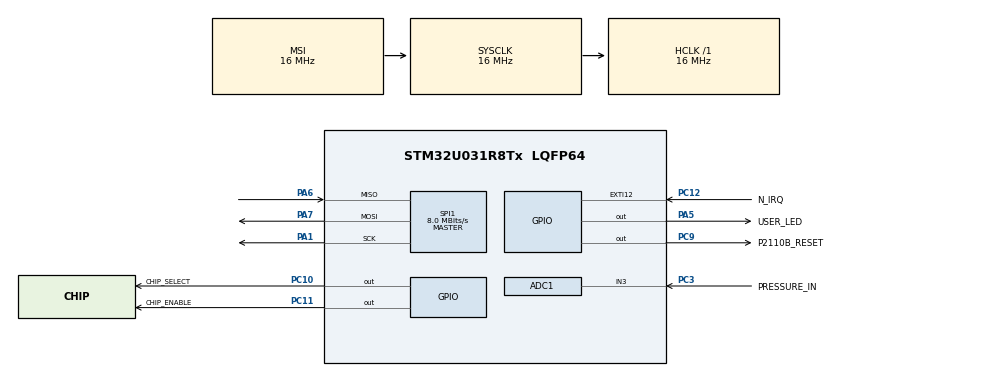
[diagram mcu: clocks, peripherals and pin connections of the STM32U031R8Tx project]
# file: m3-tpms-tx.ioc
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ADC1.Channel-1\#ChannelRegularConversion=ADC_CHANNEL_3
ADC1.ContinuousConvMode=ENABLE
ADC1.NbrOfConversionFlag=1
ADC1.Rank-1\#ChannelRegularConversion=1
ADC1.RankArg-1\#ChannelRegularConversion=ADC_REGULAR_RANK_1
ADC1.SamplingTime-1\#ChannelRegularConversion=ADC_SAMPLINGTIME_COMMON_1
ADC1.SelectedChannel=ADC_CHANNEL_3
ADC1.master=1
Mcu.Family=STM32U0
Mcu.Name=STM32U031R8Tx
Mcu.Package=LQFP64
NVIC.EXTI4_15_IRQn=true\:0\:0\:false\:false\:true\:true\:true\:true
NVIC.PriorityGroup=NVIC_PRIORITYGROUP_2
PA1.Mode=Full_Duplex_Master
PA1.Signal=SPI1_SCK
PA13\ (SWDIO).GPIO_Label=SWDIO
PA13\ (SWDIO).Mode=Serial_Wire
PA13\ (SWDIO).Signal=DEBUG_JTMS-SWDIO
PA14\ (SWCLK).GPIO_Label=SWCLK
PA14\ (SWCLK).Mode=Serial_Wire
PA14\ (SWCLK).Signal=DEBUG_JTCK-SWCLK
PA5.GPIO_Label=USER_LED
PA5.Signal=GPIO_Output
PA6.Mode=Full_Duplex_Master
PA6.Signal=SPI1_MISO
PA7.Mode=Full_Duplex_Master
PA7.Signal=SPI1_MOSI
PC10.GPIO_Label=CHIP_SELECT
PC10.Signal=GPIO_Output
PC11.GPIO_Label=CHIP_ENABLE
PC11.Signal=GPIO_Output
PC12.GPIO_Label=N_IRQ
PC12.GPIO_ModeDefaultEXTI=GPIO_MODE_IT_FALLING
PC12.GPIO_PuPd=GPIO_NOPULL
PC12.Signal=GPXTI12
PC14-OSC32_IN.Signal=RCC_OSC32_IN
PC15-OSC32_OUT.GPIO_Label=OSC32_OUT
PC15-OSC32_OUT.Signal=RCC_OSC32_OUT
PC3.GPIO_Label=PRESSURE_IN
PC3.Mode=IN3
PC3.Signal=ADC1_IN3
PC9.GPIO_Label=P2110B_RESET
PC9.GPIO_PuPd=GPIO_NOPULL
PC9.Signal=GPIO_Output
PF0-OSC_IN.GPIO_Label=OSC_IN
PF0-OSC_IN.Signal=RCC_OSC_IN
PF1-OSC_OUT.GPIO_Label=OSC_OUT
PF1-OSC_OUT.Signal=RCC_OSC_OUT
ProjectManager.HeapSize=0x200
ProjectManager.StackSize=0x400
ProjectManager.TargetToolchain=CMake
RCC.ADCFreq_Value=16000000
RCC.AHBFreq_Value=16000000
RCC.CortexFreq_Value=16000000
RCC.HCLKFreq_Value=16000000
RCC.HSE_VALUE=4000000
RCC.HSI48_VALUE=48000000
RCC.HSI_VALUE=16000000
RCC.LSE_VALUE=32768
RCC.MSIClockRangeVal=RCC_MSIRANGE_8
RCC.MSI_VALUE=16000000
RCC.SYSCLKFreq_VALUE=16000000
RCC.SYSCLKSource=RCC_SYSCLKSOURCE_MSI
RCC.VCOOutputFreq_Value=64000000
SPI1.BaudRatePrescaler=SPI_BAUDRATEPRESCALER_2
SPI1.CalculateBaudRate=8.0 MBits/s
SPI1.DataSize=SPI_DATASIZE_8BIT
SPI1.Direction=SPI_DIRECTION_2LINES
SPI1.Mode=SPI_MODE_MASTER
SPI1.VirtualType=VM_MASTER
VP_PWR_VS_SECSignals.Mode=Security/Privilege
board=NUCLEO-U031R8

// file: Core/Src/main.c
/* USER CODE BEGIN Header */
/**
 ******************************************************************************
 * @file           : main.c
 * @brief          : Main program body
 ******************************************************************************
 * @attention
 *
 * Copyright (c) 2024 STMicroelectronics.
 * All rights reserved.
 *
 * This software is licensed under terms that can be found in the LICENSE file
 * in the root directory of this software component.
 * If no LICENSE file comes with this software, it is provided AS-IS.
 *
 ******************************************************************************
 */
/* USER CODE END Header */
#include "main.h"
#include "adc.h"
#include "spi.h"
#include "gpio.h"

/* USER CODE BEGIN Includes */

#include "nrf24l01.h"
#include "stm32u0xx_hal_gpio.h"

/* USER CODE END Includes */

/* USER CODE BEGIN PD */

#define SINGLE_TRANSMISSION 1
#define TX_DELAY_MS         200
#define NUM_MSGS            1

/* USER CODE END PD */

/* USER CODE BEGIN PV */

static uint8_t uart_msg[128] = {0};

/* USER CODE END PV */

void SystemClock_Config(void);
/* USER CODE BEGIN PFP */
void read_back_config(void);

/* USER CODE END PFP */

int main(void)
{

  /* USER CODE BEGIN 1 */

  // TODO: use interrupts to avoid polling

  // TODO: make these static
  uint8_t tx_payload[MAX_DATA_BYTES] = {0};
  uint8_t rx_buffer[MAX_DATA_BYTES] = {0};

  uint8_t rf_payload[PAYLOAD_SZ_BYTES] = {0};

  HAL_StatusTypeDef send_status = HAL_ERROR;

  /* USER CODE END 1 */

  /* MCU Configuration--------------------------------------------------------*/

  /* Reset of all peripherals, Initializes the Flash interface and the Systick. */
  HAL_Init();

  /* Configure the system clock */
  SystemClock_Config();

  /* Initialize all configured peripherals */
  MX_GPIO_Init();
  MX_SPI1_Init();
  MX_ADC1_Init();
  /* USER CODE BEGIN 2 */

  HAL_PWREx_EnableLowPowerRunMode();
  HAL_ADC_Start(&hadc1);

  HAL_GPIO_WritePin(P2110B_RESET_GPIO_Port, P2110B_RESET_Pin, GPIO_PIN_RESET);

  // TODO: figure out how many SPI commands can be cut out

  // sprintf((char *)uart_msg, "Starting initialization...\r\n");
  // HAL_UART_Transmit(&huart2, uart_msg, sizeof(uart_msg), UART_TIMEOUT_MS);

  // transmit a test command to bring CLK low (not sure why the clock is high to
  // begin with)
  tx_spi_cmd(R_REGISTER(CONFIG_REGISTER), NULL, 0);

  // HAL_Delay(100);

  // [REQUIRED] make sure to power on the device
  tx_payload[0] = 0b00001110;
  tx_spi_cmd(W_REGISTER(CONFIG_REGISTER), tx_payload, 1);

  // [REQUIRED] set payload size for pipe 0
  tx_payload[0] = PAYLOAD_SZ_BYTES;
  tx_spi_cmd(W_REGISTER(RX_PW_P0), tx_payload, 1);

  // [REQUIRED] set the RF configuration
  NrfRfSetup_t rf_config = {.data_power = ZERO_DBM, .data_rate = TWO_MBPS};
  nrf24l01_setup_rf(&rf_config);

  // [NOT REQUIRED] disable auto-retransmission
  tx_payload[0] = 0x0;
  tx_spi_cmd(W_REGISTER(SETUP_RETR), tx_payload, 1);

  // [REQUIRED] enable `W_TX_PAYLOAD_NOACK` command
  tx_payload[0] = 0x1;
  tx_spi_cmd(W_REGISTER(FEATURE), tx_payload, 1);

  // [NOT REQUIRED] flush the TX buffer
  tx_spi_cmd(FLUSH_TX, NULL, 0);

  // [OPTIONAL] read back configuration
  uint32_t start = HAL_GetTick();
  read_back_config();
  uint32_t end = HAL_GetTick();

  // int index = 0;

  // load pressure value into the RF payload
  // TODO: remove this
  uint32_t pressure_val = HAL_ADC_GetValue(&hadc1);

  uint16_t pressure_val_lo = pressure_val & 0xffff;
  *((uint16_t *)rf_payload) = pressure_val_lo;

  send_status = nrf24l01_send_msg_noack(rf_payload, PAYLOAD_SZ_BYTES);

  HAL_GPIO_WritePin(P2110B_RESET_GPIO_Port, P2110B_RESET_Pin, GPIO_PIN_SET);

  while (1);

  /* USER CODE END 2 */

  /* Infinite loop */
  while (1) {

    /* USER CODE BEGIN 3 */

    // index++;

    // #if SINGLE_TRANSMISSION
    //     break;
    // #endif /* if SINGLE_TRANSMISSION */

    if (send_status == HAL_OK) {
      // sprintf((char *)uart_msg, "Transmitted pressure value of %d!\r\n",
      //         pressure_val);
      // HAL_UART_Transmit(&huart2, uart_msg, sizeof(uart_msg),
      // UART_TIMEOUT_MS);
    } else {
      // sprintf((char *)uart_msg, "Failed to transmit pressure value!\r\n");
      // HAL_UART_Transmit(&huart2, uart_msg, sizeof(uart_msg),
      // UART_TIMEOUT_MS);
    }

    memset(&uart_msg, 0, sizeof(uart_msg));

    // check TX FIFO status
    tx_rx_spi_cmd(R_REGISTER(OBSERVE_TX), NULL, 0, rx_buffer, 1);
    uint8_t observe_tx = rx_buffer[0];
    memset(&rx_buffer, 0, sizeof(rx_buffer));

    // sprintf((char *)uart_msg, "Observed TX value is %d!\r\n", observe_tx);
    // HAL_UART_Transmit(&huart2, uart_msg, sizeof(uart_msg), UART_TIMEOUT_MS);

    HAL_GPIO_TogglePin(USER_LED_GPIO_Port, USER_LED_Pin);
    HAL_Delay(TX_DELAY_MS);
  }
  /* USER CODE END 3 */
}

void SystemClock_Config(void)
{
  RCC_OscInitTypeDef RCC_OscInitStruct = {0};
  RCC_ClkInitTypeDef RCC_ClkInitStruct = {0};

  /** Configure the main internal regulator output voltage
  */
  HAL_PWREx_ControlVoltageScaling(PWR_REGULATOR_VOLTAGE_SCALE2);

  /** Initializes the RCC Oscillators according to the specified parameters
  * in the RCC_OscInitTypeDef structure.
  */
  RCC_OscInitStruct.OscillatorType = RCC_OSCILLATORTYPE_MSI;
  RCC_OscInitStruct.MSIState = RCC_MSI_ON;
  RCC_OscInitStruct.MSICalibrationValue = RCC_MSICALIBRATION_DEFAULT;
  RCC_OscInitStruct.MSIClockRange = RCC_MSIRANGE_8;
  RCC_OscInitStruct.PLL.PLLState = RCC_PLL_NONE;
  if (HAL_RCC_OscConfig(&RCC_OscInitStruct) != HAL_OK)
  {
    Error_Handler();
  }

  /** Initializes the CPU, AHB and APB buses clocks
  */
  RCC_ClkInitStruct.ClockType = RCC_CLOCKTYPE_HCLK|RCC_CLOCKTYPE_SYSCLK
                              |RCC_CLOCKTYPE_PCLK1;
  RCC_ClkInitStruct.SYSCLKSource = RCC_SYSCLKSOURCE_MSI;
  RCC_ClkInitStruct.AHBCLKDivider = RCC_SYSCLK_DIV1;
  RCC_ClkInitStruct.APB1CLKDivider = RCC_HCLK_DIV1;

  if (HAL_RCC_ClockConfig(&RCC_ClkInitStruct, FLASH_LATENCY_1) != HAL_OK)
  {
    Error_Handler();
  }
}

/* USER CODE BEGIN 4 */

void read_back_config(void) {
  uint8_t rx_buffer[RX_BUF_SZ_BYTES] = {0};

  tx_rx_spi_cmd(R_REGISTER(CONFIG_REGISTER), NULL, 0, rx_buffer, 1);
  uint8_t config = rx_buffer[0];
  memset(&rx_buffer, 0, sizeof(rx_buffer));

  tx_rx_spi_cmd(R_REGISTER(EN_RXADDR), NULL, 0, rx_buffer, 1);
  uint8_t endp = rx_buffer[0];
  memset(&rx_buffer, 0, sizeof(rx_buffer));

  tx_rx_spi_cmd(R_REGISTER(SETUP_RETR), NULL, 0, rx_buffer, 1);
  uint8_t setup_retr = rx_buffer[0];
  memset(&rx_buffer, 0, sizeof(rx_buffer));

  tx_rx_spi_cmd(R_REGISTER(RF_CH), NULL, 0, rx_buffer, 1);
  uint8_t rfch = rx_buffer[0];
  memset(&rx_buffer, 0, sizeof(rx_buffer));

  tx_rx_spi_cmd(R_REGISTER(RF_SETUP), NULL, 0, rx_buffer, 1);
  uint8_t rfsetup = rx_buffer[0];
  memset(&rx_buffer, 0, sizeof(rx_buffer));

  tx_rx_spi_cmd(R_REGISTER(RX_ADDR_P0), NULL, 0, rx_buffer, 5);
  uint32_t rx_addr_p0_hi = *((uint32_t *)rx_buffer);
  uint32_t rx_addr_p0_lo = *((uint32_t *)rx_buffer + 1);
  memset(&rx_buffer, 0, sizeof(rx_buffer));

  tx_rx_spi_cmd(R_REGISTER(TX_ADDR), NULL, 0, rx_buffer, 5);
  uint32_t tx_addr_hi = *((uint32_t *)rx_buffer);
  uint32_t tx_addr_lo = *((uint32_t *)rx_buffer + 1);
  memset(&rx_buffer, 0, sizeof(rx_buffer));

  tx_rx_spi_cmd(R_REGISTER(RX_PW_P0), NULL, 0, rx_buffer, 5);
  uint8_t rx_pw_p0 = rx_buffer[0];
  memset(&rx_buffer, 0, sizeof(rx_buffer));

  tx_rx_spi_cmd(R_REGISTER(FEATURE), NULL, 0, rx_buffer, 1);
  uint8_t feature = rx_buffer[0];
  memset(&rx_buffer, 0, sizeof(rx_buffer));

  // TODO: assert correct configuration

  // sprintf((char *)uart_msg, "CONFIG: 0x%x\r\n", config);
  // HAL_UART_Transmit(&huart2, uart_msg, strlen((const char *)uart_msg),
  //                   UART_TIMEOUT_MS);
  //
  // sprintf((char *)uart_msg, "ENABLED DATA PIPES: 0x%x\r\n", endp);
  // HAL_UART_Transmit(&huart2, uart_msg, strlen((const char *)uart_msg),
  //                   UART_TIMEOUT_MS);
  //
  // sprintf((char *)uart_msg, "RETRANSMISSION SETUP: 0x%x\r\n", setup_retr);
  // HAL_UART_Transmit(&huart2, uart_msg, strlen((const char *)uart_msg),
  //                   UART_TIMEOUT_MS);
  //
  // sprintf((char *)uart_msg, "RF CHANNEL: 0x%x\r\n", rfch);
  // HAL_UART_Transmit(&huart2, uart_msg, strlen((const char *)uart_msg),
  //                   UART_TIMEOUT_MS);
  //
  // sprintf((char *)uart_msg, "RF SETUP: 0x%x\r\n", rfsetup);
  // HAL_UART_Transmit(&huart2, uart_msg, strlen((const char *)uart_msg),
  //                   UART_TIMEOUT_MS);
  //
  // sprintf((char *)uart_msg, "RX_ADDR_P0: 0x%x%x\r\n", rx_addr_p0_hi,
  //         rx_addr_p0_lo);
  // HAL_UART_Transmit(&huart2, uart_msg, strlen((const char *)uart_msg),
  //                   UART_TIMEOUT_MS);
  //
  // sprintf((char *)uart_msg, "TX_ADDR: 0x%x%x\r\n", tx_addr_hi, tx_addr_lo);
  // HAL_UART_Transmit(&huart2, uart_msg, strlen((const char *)uart_msg),
  //                   UART_TIMEOUT_MS);
  //
  // sprintf((char *)uart_msg, "RX_PW_P0: 0x%x\r\n", rx_pw_p0);
  // HAL_UART_Transmit(&huart2, uart_msg, strlen((const char *)uart_msg),
  //                   UART_TIMEOUT_MS);
  //
  // sprintf((char *)uart_msg, "FEATURE: 0x%x\r\n", feature);
  // HAL_UART_Transmit(&huart2, uart_msg, strlen((const char *)uart_msg),
  //                   UART_TIMEOUT_MS);
  //
  // sprintf((char *)uart_msg, "Finished initialization!\r\n");
  // HAL_UART_Transmit(&huart2, uart_msg, sizeof(uart_msg), UART_TIMEOUT_MS);
}

/* USER CODE END 4 */

void Error_Handler(void)
{
  __disable_irq();
  while (1) {
  }
}

#ifdef  USE_FULL_ASSERT
/**
  * @brief  Reports the name of the source file and the source line number
  *         where the assert_param error has occurred.
  * @param  file: pointer to the source file name
  * @param  line: assert_param error line source number
  * @retval None
  */
void assert_failed(uint8_t *file, uint32_t line)
{
  /* USER CODE BEGIN 6 */
  /* User can add his own implementation to report the file name and line
  number,
  /* USER CODE END 6 */
}
#endif /* USE_FULL_ASSERT */
